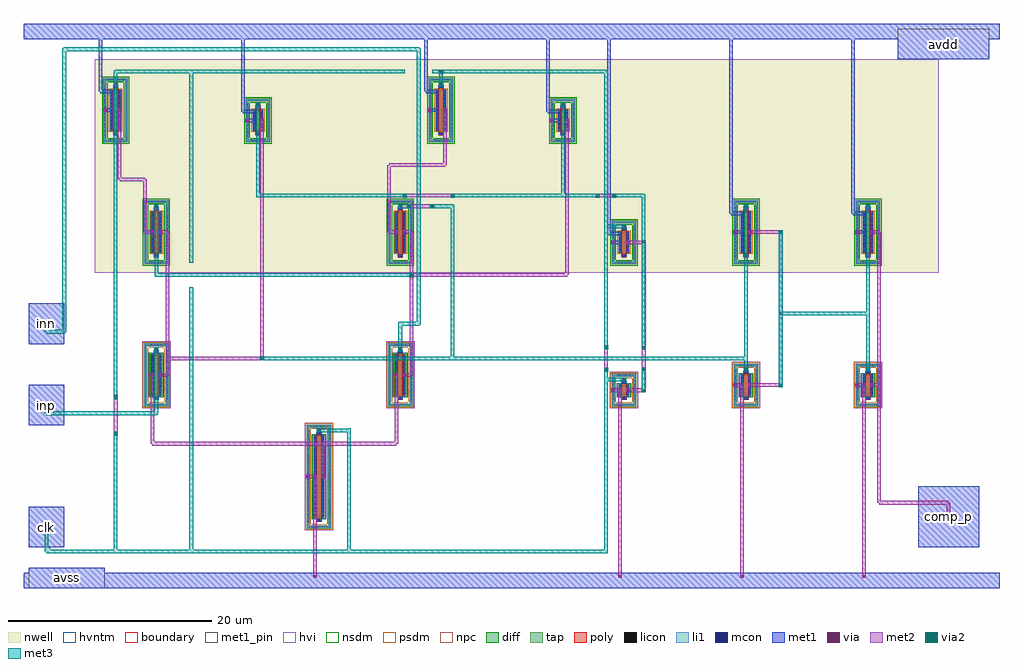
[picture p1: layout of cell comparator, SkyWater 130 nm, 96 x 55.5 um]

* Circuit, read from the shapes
.subckt comparator avdd avss clk comp_p inn inp
XM1 n1 inp n2 avss sky130_fd_pr__nfet_g5v0d10v5 w=4 l=0.5
XM2 n2 clk avss avss sky130_fd_pr__nfet_g5v0d10v5 w=8 l=0.5
XM3 n3 inn n2 avss sky130_fd_pr__nfet_g5v0d10v5 w=4 l=0.5
XM4 n4 clk avss avss sky130_fd_pr__nfet_g5v0d10v5 w=1 l=0.5
XM5 n5 n1 avss avss sky130_fd_pr__nfet_g5v0d10v5 w=2 l=0.5
XM6 comp_p n5 avss avss sky130_fd_pr__nfet_g5v0d10v5 w=2 l=0.5
XM7 n6 clk avdd avdd sky130_fd_pr__pfet_g5v0d10v5 w=4 l=0.5
XM8 n1 n3 n6 avdd sky130_fd_pr__pfet_g5v0d10v5 w=4 l=0.5
XM9 n1 n4 avdd avdd sky130_fd_pr__pfet_g5v0d10v5 w=2 l=0.5
XM10 n3 n1 n7 avdd sky130_fd_pr__pfet_g5v0d10v5 w=4 l=0.5
XM11 n7 clk avdd avdd sky130_fd_pr__pfet_g5v0d10v5 w=4 l=0.5
XM12 n3 n4 avdd avdd sky130_fd_pr__pfet_g5v0d10v5 w=2 l=0.5
XM13 n4 clk avdd avdd sky130_fd_pr__pfet_g5v0d10v5 w=2 l=0.5
XM14 n5 n1 avdd avdd sky130_fd_pr__pfet_g5v0d10v5 w=4 l=0.5
XM15 comp_p n5 avdd avdd sky130_fd_pr__pfet_g5v0d10v5 w=4 l=0.5
.ends

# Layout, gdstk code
import gdstk
lib = gdstk.Library(unit=1e-6, precision=1e-09)
def R(c, l, rs):  # rectangles x0, y0, x1, y1
    for r in rs: c.add(gdstk.rectangle(r[:2], r[2:], *l))
def A(c, l, x, y, w, h, nx, ny, dx, dy):  # array of equal rectangles
    R(c, l, [(x+i*dx, y+j*dy, x+i*dx+w, y+j*dy+h) for i in range(nx) for j in range(ny)])
nwell = (64, 20)
diff = (65, 20)
tap = (65, 44)
poly = (66, 20)
licon = (66, 44)
li1 = (67, 20)
mcon = (67, 44)
met1_pin = (68, 16)
met1 = (68, 20)
via = (68, 44)
met2 = (69, 20)
via2 = (69, 44)
met3 = (70, 20)
hvi = (75, 20)
nsdm = (93, 44)
psdm = (94, 20)
npc = (95, 20)
hvntm = (125, 20)
boundary = (235, 4)

comparator = lib.new_cell('comparator')
R(comparator, nwell, [(7,31,90,52), (11.525,31.525,14.605,38.495), (35.525,31.525,38.605,38.495), (57.525,31.525,60.605,36.495), (69.525,31.525,72.605,38.495), (81.525,31.525,84.605,38.495), (7.525,43.525,10.605,50.495), (21.525,43.525,24.605,48.495), (39.525,43.525,42.605,50.495), (51.525,43.525,54.605,48.495)])
R(comparator, diff, [(28.525,6.965,29.605,14.965), (12.525,18.965,13.605,22.965), (36.525,18.965,37.605,22.965), (58.525,18.965,59.605,19.965), (70.525,18.965,71.605,20.965), (82.525,18.965,83.605,20.965), (12.525,33.01,13.605,37.01), (36.525,33.01,37.605,37.01), (58.525,33.01,59.605,35.01), (70.525,33.01,71.605,37.01), (82.525,33.01,83.605,37.01), (8.525,45.01,9.605,49.01), (22.525,45.01,23.605,47.01), (40.525,45.01,41.605,49.01), (52.525,45.01,53.605,47.01)])
A(comparator, tap, 57.855, 17.855, 2.42, 0.29, 3, 2, 12, 14)
R(comparator, tap, [(27.855,5.855,30.275,6.145), (27.855,6.145,28.145,15.785), (29.985,6.145,30.275,15.785), (27.855,15.785,30.275,16.075), (11.855,17.855,14.275,18.145), (35.855,17.855,38.275,18.145), (11.855,18.145,12.145,23.785), (13.985,18.145,14.275,23.785), (35.855,18.145,36.145,23.785), (37.985,18.145,38.275,23.785), (57.855,18.145,58.145,20.785), (59.985,18.145,60.275,20.785), (69.855,18.145,70.145,21.785), (71.985,18.145,72.275,21.785), (81.855,18.145,82.145,21.785), (83.985,18.145,84.275,21.785), (57.855,20.785,60.275,21.075), (69.855,21.785,72.275,22.075), (81.855,21.785,84.275,22.075), (11.855,23.785,14.275,24.075), (35.855,23.785,38.275,24.075), (11.855,31.855,14.275,32.145), (35.855,31.855,38.275,32.145), (11.855,32.145,12.145,37.875), (13.985,32.145,14.275,37.875), (35.855,32.145,36.145,37.875), (37.985,32.145,38.275,37.875), (57.855,32.145,58.145,35.875), (59.985,32.145,60.275,35.875), (69.855,32.145,70.145,37.875), (71.985,32.145,72.275,37.875), (81.855,32.145,82.145,37.875), (83.985,32.145,84.275,37.875), (57.855,35.875,60.275,36.165), (11.855,37.875,14.275,38.165), (35.855,37.875,38.275,38.165), (69.855,37.875,72.275,38.165), (81.855,37.875,84.275,38.165), (7.855,43.855,10.275,44.145), (21.855,43.855,24.275,44.145), (39.855,43.855,42.275,44.145), (51.855,43.855,54.275,44.145), (7.855,44.145,8.145,49.875), (9.985,44.145,10.275,49.875), (21.855,44.145,22.145,47.875), (23.985,44.145,24.275,47.875), (39.855,44.145,40.145,49.875), (41.985,44.145,42.275,49.875), (51.855,44.145,52.145,47.875), (53.985,44.145,54.275,47.875), (21.855,47.875,24.275,48.165), (51.855,47.875,54.275,48.165), (7.855,49.875,10.275,50.165), (39.855,49.875,42.275,50.165)])
R(comparator, poly, [(28.815,6.525,29.315,15.405), (12.815,18.525,13.315,23.405), (36.815,18.525,37.315,23.405), (58.815,18.525,59.315,20.405), (70.815,18.525,71.315,21.405), (82.815,18.525,83.315,21.405), (12.815,32.525,13.315,37.495), (36.815,32.525,37.315,37.495), (58.815,32.525,59.315,35.495), (70.815,32.525,71.315,37.495), (82.815,32.525,83.315,37.495), (8.815,44.525,9.315,49.495), (22.815,44.525,23.315,47.495), (40.815,44.525,41.315,49.495), (52.815,44.525,53.315,47.495)])
A(comparator, licon, 28.47, 5.915, 0.17, 0.17, 4, 2, 0.34, 9.93)
A(comparator, licon, 27.915, 6.46, 0.17, 0.17, 1, 27, 0, 0.34)
A(comparator, licon, 30.045, 6.46, 0.17, 0.17, 1, 27, 0, 0.34)
A(comparator, licon, 28.585, 7.14, 0.17, 0.17, 1, 23, 0, 0.34)
A(comparator, licon, 29.375, 7.14, 0.17, 0.17, 1, 23, 0, 0.34)
A(comparator, licon, 12.47, 17.915, 0.17, 0.17, 4, 2, 0.34, 5.93)
A(comparator, licon, 36.47, 17.915, 0.17, 0.17, 4, 2, 0.34, 5.93)
A(comparator, licon, 58.47, 17.915, 0.17, 0.17, 4, 2, 0.34, 2.93)
A(comparator, licon, 70.47, 17.915, 0.17, 0.17, 4, 2, 0.34, 3.93)
A(comparator, licon, 82.47, 17.915, 0.17, 0.17, 4, 2, 0.34, 3.93)
A(comparator, licon, 11.915, 18.5, 0.17, 0.17, 1, 15, 0, 0.34)
A(comparator, licon, 14.045, 18.5, 0.17, 0.17, 1, 15, 0, 0.34)
A(comparator, licon, 35.915, 18.5, 0.17, 0.17, 1, 15, 0, 0.34)
A(comparator, licon, 38.045, 18.5, 0.17, 0.17, 1, 15, 0, 0.34)
A(comparator, licon, 69.915, 18.52, 0.17, 0.17, 1, 9, 0, 0.34)
A(comparator, licon, 72.045, 18.52, 0.17, 0.17, 1, 9, 0, 0.34)
A(comparator, licon, 81.915, 18.52, 0.17, 0.17, 1, 9, 0, 0.34)
A(comparator, licon, 84.045, 18.52, 0.17, 0.17, 1, 9, 0, 0.34)
A(comparator, licon, 57.915, 18.53, 0.17, 0.17, 1, 6, 0, 0.34)
A(comparator, licon, 60.045, 18.53, 0.17, 0.17, 1, 6, 0, 0.34)
A(comparator, licon, 58.98, 18.605, 0.17, 0.17, 3, 2, 12, 14)
A(comparator, licon, 70.585, 19.03, 0.17, 0.17, 1, 6, 0, 0.34)
A(comparator, licon, 71.375, 19.03, 0.17, 0.17, 1, 6, 0, 0.34)
A(comparator, licon, 82.585, 19.03, 0.17, 0.17, 1, 6, 0, 0.34)
A(comparator, licon, 83.375, 19.03, 0.17, 0.17, 1, 6, 0, 0.34)
A(comparator, licon, 58.585, 19.04, 0.17, 0.17, 1, 3, 0, 0.34)
A(comparator, licon, 59.375, 19.04, 0.17, 0.17, 1, 3, 0, 0.34)
A(comparator, licon, 12.585, 19.18, 0.17, 0.17, 1, 11, 0, 0.34)
A(comparator, licon, 13.375, 19.18, 0.17, 0.17, 1, 11, 0, 0.34)
A(comparator, licon, 36.585, 19.18, 0.17, 0.17, 1, 11, 0, 0.34)
A(comparator, licon, 37.375, 19.18, 0.17, 0.17, 1, 11, 0, 0.34)
A(comparator, licon, 12.47, 31.915, 0.17, 0.17, 4, 2, 0.34, 6.02)
A(comparator, licon, 36.47, 31.915, 0.17, 0.17, 4, 2, 0.34, 6.02)
A(comparator, licon, 58.47, 31.915, 0.17, 0.17, 4, 2, 0.34, 4.02)
A(comparator, licon, 70.47, 31.915, 0.17, 0.17, 4, 2, 0.34, 6.02)
A(comparator, licon, 82.47, 31.915, 0.17, 0.17, 4, 2, 0.34, 6.02)
A(comparator, licon, 57.915, 32.395, 0.17, 0.17, 1, 10, 0, 0.34)
A(comparator, licon, 60.045, 32.395, 0.17, 0.17, 1, 10, 0, 0.34)
A(comparator, licon, 11.915, 32.545, 0.17, 0.17, 1, 15, 0, 0.34)
A(comparator, licon, 14.045, 32.545, 0.17, 0.17, 1, 15, 0, 0.34)
A(comparator, licon, 35.915, 32.545, 0.17, 0.17, 1, 15, 0, 0.34)
A(comparator, licon, 38.045, 32.545, 0.17, 0.17, 1, 15, 0, 0.34)
A(comparator, licon, 69.915, 32.545, 0.17, 0.17, 1, 15, 0, 0.34)
A(comparator, licon, 72.045, 32.545, 0.17, 0.17, 1, 15, 0, 0.34)
A(comparator, licon, 81.915, 32.545, 0.17, 0.17, 1, 15, 0, 0.34)
A(comparator, licon, 84.045, 32.545, 0.17, 0.17, 1, 15, 0, 0.34)
A(comparator, licon, 58.585, 33.075, 0.17, 0.17, 1, 6, 0, 0.34)
A(comparator, licon, 59.375, 33.075, 0.17, 0.17, 1, 6, 0, 0.34)
A(comparator, licon, 12.585, 33.225, 0.17, 0.17, 1, 11, 0, 0.34)
A(comparator, licon, 13.375, 33.225, 0.17, 0.17, 1, 11, 0, 0.34)
A(comparator, licon, 36.585, 33.225, 0.17, 0.17, 1, 11, 0, 0.34)
A(comparator, licon, 37.375, 33.225, 0.17, 0.17, 1, 11, 0, 0.34)
A(comparator, licon, 70.585, 33.225, 0.17, 0.17, 1, 11, 0, 0.34)
A(comparator, licon, 71.375, 33.225, 0.17, 0.17, 1, 11, 0, 0.34)
A(comparator, licon, 82.585, 33.225, 0.17, 0.17, 1, 11, 0, 0.34)
A(comparator, licon, 83.375, 33.225, 0.17, 0.17, 1, 11, 0, 0.34)
A(comparator, licon, 8.47, 43.915, 0.17, 0.17, 4, 2, 0.34, 6.02)
A(comparator, licon, 22.47, 43.915, 0.17, 0.17, 4, 2, 0.34, 4.02)
A(comparator, licon, 40.47, 43.915, 0.17, 0.17, 4, 2, 0.34, 6.02)
A(comparator, licon, 52.47, 43.915, 0.17, 0.17, 4, 2, 0.34, 4.02)
A(comparator, licon, 21.915, 44.395, 0.17, 0.17, 1, 10, 0, 0.34)
A(comparator, licon, 24.045, 44.395, 0.17, 0.17, 1, 10, 0, 0.34)
A(comparator, licon, 51.915, 44.395, 0.17, 0.17, 1, 10, 0, 0.34)
A(comparator, licon, 54.045, 44.395, 0.17, 0.17, 1, 10, 0, 0.34)
A(comparator, licon, 7.915, 44.545, 0.17, 0.17, 1, 15, 0, 0.34)
A(comparator, licon, 10.045, 44.545, 0.17, 0.17, 1, 15, 0, 0.34)
A(comparator, licon, 39.915, 44.545, 0.17, 0.17, 1, 15, 0, 0.34)
A(comparator, licon, 42.045, 44.545, 0.17, 0.17, 1, 15, 0, 0.34)
A(comparator, licon, 22.585, 45.075, 0.17, 0.17, 1, 6, 0, 0.34)
A(comparator, licon, 23.375, 45.075, 0.17, 0.17, 1, 6, 0, 0.34)
A(comparator, licon, 52.585, 45.075, 0.17, 0.17, 1, 6, 0, 0.34)
A(comparator, licon, 53.375, 45.075, 0.17, 0.17, 1, 6, 0, 0.34)
A(comparator, licon, 8.585, 45.225, 0.17, 0.17, 1, 11, 0, 0.34)
A(comparator, licon, 9.375, 45.225, 0.17, 0.17, 1, 11, 0, 0.34)
A(comparator, licon, 40.585, 45.225, 0.17, 0.17, 1, 11, 0, 0.34)
A(comparator, licon, 41.375, 45.225, 0.17, 0.17, 1, 11, 0, 0.34)
R(comparator, licon, [(28.98,6.605,29.15,6.775), (28.98,15.155,29.15,15.325), (12.98,18.605,13.15,18.775), (36.98,18.605,37.15,18.775), (58.98,20.155,59.15,20.325), (70.98,21.155,71.15,21.325), (82.98,21.155,83.15,21.325), (12.98,23.155,13.15,23.325), (36.98,23.155,37.15,23.325), (12.98,32.605,13.15,32.775), (36.98,32.605,37.15,32.775), (58.98,35.245,59.15,35.415), (12.98,37.245,13.15,37.415), (36.98,37.245,37.15,37.415), (70.98,37.245,71.15,37.415), (82.98,37.245,83.15,37.415), (8.98,44.605,9.15,44.775), (22.98,44.605,23.15,44.775), (40.98,44.605,41.15,44.775), (52.98,44.605,53.15,44.775), (22.98,47.245,23.15,47.415), (52.98,47.245,53.15,47.415), (8.98,49.245,9.15,49.415), (40.98,49.245,41.15,49.415)])
A(comparator, li1, 57.915, 17.915, 2.3, 0.17, 3, 2, 12, 14)
A(comparator, li1, 58.815, 18.605, 0.5, 0.17, 3, 2, 12, 14)
R(comparator, li1, [(27.915,5.915,30.215,6.085), (27.915,6.085,28.085,15.845), (30.045,6.085,30.215,15.845), (28.815,6.605,29.315,6.775), (28.585,6.945,28.755,14.985), (29.375,6.945,29.545,14.985), (27.915,10.88,28.085,11.05), (28.815,15.155,29.315,15.325), (27.915,15.845,30.215,16.015), (11.915,17.915,14.215,18.085), (35.915,17.915,38.215,18.085), (11.915,18.085,12.085,23.845), (14.045,18.085,14.215,23.845), (35.915,18.085,36.085,23.845), (38.045,18.085,38.215,23.845), (57.915,18.085,58.085,20.845), (60.045,18.085,60.215,20.845), (69.915,18.085,70.085,21.845), (72.045,18.085,72.215,21.845), (81.915,18.085,82.085,21.845), (84.045,18.085,84.215,21.845), (12.815,18.605,13.315,18.775), (36.815,18.605,37.315,18.775), (12.585,18.945,12.755,22.985), (13.375,18.945,13.545,22.985), (36.585,18.945,36.755,22.985), (37.375,18.945,37.545,22.985), (58.585,18.945,58.755,19.985), (59.375,18.945,59.545,19.985), (70.585,18.945,70.755,20.985), (71.375,18.945,71.545,20.985), (82.585,18.945,82.755,20.985), (83.375,18.945,83.545,20.985), (57.915,19.38,58.085,19.55), (69.915,19.88,70.085,20.05), (81.915,19.88,82.085,20.05), (58.815,20.155,59.315,20.325), (57.915,20.845,60.215,21.015), (70.815,21.155,71.315,21.325), (82.815,21.155,83.315,21.325), (69.915,21.845,72.215,22.015), (81.915,21.845,84.215,22.015), (12.815,23.155,13.315,23.325), (36.815,23.155,37.315,23.325), (11.915,23.845,14.215,24.015), (35.915,23.845,38.215,24.015), (11.915,31.915,14.215,32.085), (35.915,31.915,38.215,32.085), (11.915,32.085,12.085,37.935), (14.045,32.085,14.215,37.935), (35.915,32.085,36.085,37.935), (38.045,32.085,38.215,37.935), (57.915,32.085,58.085,35.935), (60.045,32.085,60.215,35.935), (69.915,32.085,70.085,37.935), (72.045,32.085,72.215,37.935), (81.915,32.085,82.085,37.935), (84.045,32.085,84.215,37.935), (12.815,32.605,13.315,32.775), (36.815,32.605,37.315,32.775), (12.585,32.99,12.755,37.03), (13.375,32.99,13.545,37.03), (36.585,32.99,36.755,37.03), (37.375,32.99,37.545,37.03), (58.585,32.99,58.755,35.03), (59.375,32.99,59.545,35.03), (70.585,32.99,70.755,37.03), (71.375,32.99,71.545,37.03), (82.585,32.99,82.755,37.03), (83.375,32.99,83.545,37.03), (57.915,33.925,58.085,34.095), (69.915,34.925,70.085,35.095), (81.915,34.925,82.085,35.095), (58.815,35.245,59.315,35.415), (57.915,35.935,60.215,36.105), (12.815,37.245,13.315,37.415), (36.815,37.245,37.315,37.415), (70.815,37.245,71.315,37.415), (82.815,37.245,83.315,37.415), (11.915,37.935,14.215,38.105), (35.915,37.935,38.215,38.105), (69.915,37.935,72.215,38.105), (81.915,37.935,84.215,38.105), (7.915,43.915,10.215,44.085), (21.915,43.915,24.215,44.085), (39.915,43.915,42.215,44.085), (51.915,43.915,54.215,44.085), (7.915,44.085,8.085,49.935), (10.045,44.085,10.215,49.935), (21.915,44.085,22.085,47.935), (24.045,44.085,24.215,47.935), (39.915,44.085,40.085,49.935), (42.045,44.085,42.215,49.935), (51.915,44.085,52.085,47.935), (54.045,44.085,54.215,47.935), (8.815,44.605,9.315,44.775), (22.815,44.605,23.315,44.775), (40.815,44.605,41.315,44.775), (52.815,44.605,53.315,44.775), (8.585,44.99,8.755,49.03), (9.375,44.99,9.545,49.03), (22.585,44.99,22.755,47.03), (23.375,44.99,23.545,47.03), (40.585,44.99,40.755,49.03), (41.375,44.99,41.545,49.03), (52.585,44.99,52.755,47.03), (53.375,44.99,53.545,47.03), (21.915,45.925,22.085,46.095), (51.915,45.925,52.085,46.095), (7.915,46.925,8.085,47.095), (39.915,46.925,40.085,47.095), (22.815,47.245,23.315,47.415), (52.815,47.245,53.315,47.415), (21.915,47.935,24.215,48.105), (51.915,47.935,54.215,48.105), (8.815,49.245,9.315,49.415), (40.815,49.245,41.315,49.415), (7.915,49.935,10.215,50.105), (39.915,49.935,42.215,50.105)])
A(comparator, mcon, 28.585, 7.1, 0.17, 0.17, 1, 22, 0, 0.36)
A(comparator, mcon, 29.375, 7.1, 0.17, 0.17, 1, 22, 0, 0.36)
A(comparator, mcon, 58.98, 18.605, 0.17, 0.17, 3, 2, 12, 14)
A(comparator, mcon, 12.585, 19.08, 0.17, 0.17, 1, 11, 0, 0.36)
A(comparator, mcon, 13.375, 19.08, 0.17, 0.17, 1, 11, 0, 0.36)
A(comparator, mcon, 36.585, 19.08, 0.17, 0.17, 1, 11, 0, 0.36)
A(comparator, mcon, 37.375, 19.08, 0.17, 0.17, 1, 11, 0, 0.36)
A(comparator, mcon, 70.585, 19.16, 0.17, 0.17, 1, 5, 0, 0.36)
A(comparator, mcon, 71.375, 19.16, 0.17, 0.17, 1, 5, 0, 0.36)
A(comparator, mcon, 82.585, 19.16, 0.17, 0.17, 1, 5, 0, 0.36)
A(comparator, mcon, 83.375, 19.16, 0.17, 0.17, 1, 5, 0, 0.36)
A(comparator, mcon, 12.585, 33.125, 0.17, 0.17, 1, 11, 0, 0.36)
A(comparator, mcon, 13.375, 33.125, 0.17, 0.17, 1, 11, 0, 0.36)
A(comparator, mcon, 36.585, 33.125, 0.17, 0.17, 1, 11, 0, 0.36)
A(comparator, mcon, 37.375, 33.125, 0.17, 0.17, 1, 11, 0, 0.36)
A(comparator, mcon, 70.585, 33.125, 0.17, 0.17, 1, 11, 0, 0.36)
A(comparator, mcon, 71.375, 33.125, 0.17, 0.17, 1, 11, 0, 0.36)
A(comparator, mcon, 82.585, 33.125, 0.17, 0.17, 1, 11, 0, 0.36)
A(comparator, mcon, 83.375, 33.125, 0.17, 0.17, 1, 11, 0, 0.36)
A(comparator, mcon, 58.585, 33.205, 0.17, 0.17, 1, 5, 0, 0.36)
A(comparator, mcon, 59.375, 33.205, 0.17, 0.17, 1, 5, 0, 0.36)
A(comparator, mcon, 8.585, 45.125, 0.17, 0.17, 1, 11, 0, 0.36)
A(comparator, mcon, 9.375, 45.125, 0.17, 0.17, 1, 11, 0, 0.36)
A(comparator, mcon, 40.585, 45.125, 0.17, 0.17, 1, 11, 0, 0.36)
A(comparator, mcon, 41.375, 45.125, 0.17, 0.17, 1, 11, 0, 0.36)
A(comparator, mcon, 22.585, 45.205, 0.17, 0.17, 1, 5, 0, 0.36)
A(comparator, mcon, 23.375, 45.205, 0.17, 0.17, 1, 5, 0, 0.36)
A(comparator, mcon, 52.585, 45.205, 0.17, 0.17, 1, 5, 0, 0.36)
A(comparator, mcon, 53.375, 45.205, 0.17, 0.17, 1, 5, 0, 0.36)
R(comparator, mcon, [(28.98,6.605,29.15,6.775), (27.915,10.88,28.085,11.05), (27.915,10.88,28.085,11.05), (28.98,15.155,29.15,15.325), (12.98,18.605,13.15,18.775), (36.98,18.605,37.15,18.775), (58.585,19.2,58.755,19.37), (59.375,19.2,59.545,19.37), (57.915,19.38,58.085,19.55), (57.915,19.38,58.085,19.55), (58.585,19.56,58.755,19.73), (59.375,19.56,59.545,19.73), (69.915,19.88,70.085,20.05), (69.915,19.88,70.085,20.05), (81.915,19.88,82.085,20.05), (81.915,19.88,82.085,20.05), (58.98,20.155,59.15,20.325), (70.98,21.155,71.15,21.325), (82.98,21.155,83.15,21.325), (12.98,23.155,13.15,23.325), (36.98,23.155,37.15,23.325), (12.98,32.605,13.15,32.775), (36.98,32.605,37.15,32.775), (57.915,33.925,58.085,34.095), (57.915,33.925,58.085,34.095), (69.915,34.925,70.085,35.095), (69.915,34.925,70.085,35.095), (81.915,34.925,82.085,35.095), (81.915,34.925,82.085,35.095), (58.98,35.245,59.15,35.415), (12.98,37.245,13.15,37.415), (36.98,37.245,37.15,37.415), (70.98,37.245,71.15,37.415), (82.98,37.245,83.15,37.415), (8.98,44.605,9.15,44.775), (22.98,44.605,23.15,44.775), (40.98,44.605,41.15,44.775), (52.98,44.605,53.15,44.775), (21.915,45.925,22.085,46.095), (21.915,45.925,22.085,46.095), (51.915,45.925,52.085,46.095), (51.915,45.925,52.085,46.095), (7.915,46.925,8.085,47.095), (7.915,46.925,8.085,47.095), (39.915,46.925,40.085,47.095), (39.915,46.925,40.085,47.095), (22.98,47.245,23.15,47.415), (52.98,47.245,53.15,47.415), (8.98,49.245,9.15,49.415), (40.98,49.245,41.15,49.415)])
R(comparator, met1_pin, [(0.5,0,8,2), (0.5,4,4,8), (88,4,94,10), (0.5,16,4,20), (0.5,24,4,28), (86,52,95,55)])
A(comparator, met1, 58.835, 18.575, 0.46, 0.23, 3, 2, 12, 14)
R(comparator, met1, [(0,0,96,1.5), (0.5,1.5,8,2), (0.5,4,4,8), (88,4,94,10), (28.835,6.575,29.295,6.805), (28.555,6.965,28.785,14.965), (29.345,6.965,29.575,14.965), (27.82,10.785,28.18,11.145), (28.49,10.785,28.85,11.145), (29.28,10.785,29.64,11.145), (28.835,15.125,29.295,15.355), (28.925,15.245,29.205,15.335), (28.885,15.335,29.245,15.695), (0.5,16,4,20), (12.835,18.575,13.295,18.805), (36.835,18.575,37.295,18.805), (12.555,18.965,12.785,22.965), (13.345,18.965,13.575,22.965), (36.555,18.965,36.785,22.965), (37.345,18.965,37.575,22.965), (58.555,18.965,58.785,19.965), (59.345,18.965,59.575,19.965), (70.555,18.965,70.785,20.965), (71.345,18.965,71.575,20.965), (82.555,18.965,82.785,20.965), (83.345,18.965,83.575,20.965), (57.82,19.285,58.18,19.645), (58.49,19.285,58.85,19.645), (59.28,19.285,59.64,19.645), (69.82,19.785,70.18,20.145), (70.49,19.785,70.85,20.145), (71.28,19.785,71.64,20.145), (81.82,19.785,82.18,20.145), (82.49,19.785,82.85,20.145), (83.28,19.785,83.64,20.145), (58.835,20.125,59.295,20.355), (58.925,20.245,59.205,20.335), (58.885,20.335,59.245,20.695), (12.49,20.785,12.85,21.145), (13.28,20.785,13.64,21.145), (36.49,20.785,36.85,21.145), (37.28,20.785,37.64,21.145), (70.835,21.125,71.295,21.355), (82.835,21.125,83.295,21.355), (70.925,21.245,71.205,21.335), (82.925,21.245,83.205,21.335), (70.885,21.335,71.245,21.695), (82.885,21.335,83.245,21.695), (12.835,23.125,13.295,23.355), (36.835,23.125,37.295,23.355), (12.925,23.245,13.205,23.335), (36.925,23.245,37.205,23.335), (12.885,23.335,13.245,23.695), (36.885,23.335,37.245,23.695), (0.5,24,4,28), (12.835,32.575,13.295,32.805), (36.835,32.575,37.295,32.805), (12.555,33.01,12.785,37.01), (13.345,33.01,13.575,37.01), (36.555,33.01,36.785,37.01), (37.345,33.01,37.575,37.01), (58.555,33.01,58.785,35.01), (59.345,33.01,59.575,35.01), (70.555,33.01,70.785,37.01), (71.345,33.01,71.575,37.01), (82.555,33.01,82.785,37.01), (83.345,33.01,83.575,37.01), (57.82,33.83,58.18,33.835), (59.28,33.83,59.64,34.19), (57.82,33.835,58.67,34.185), (57.82,34.185,58.18,34.19), (57.57,34.685,58.67,34.86), (12.49,34.83,12.85,35.19), (13.28,34.83,13.64,35.19), (36.49,34.83,36.85,35.19), (37.28,34.83,37.64,35.19), (69.82,34.83,70.18,34.835), (71.28,34.83,71.64,35.19), (81.82,34.83,82.18,34.835), (83.28,34.83,83.64,35.19), (69.82,34.835,70.67,35.185), (81.82,34.835,82.67,35.185), (57.395,34.86,58.67,35.035), (57.395,35.035,57.745,54), (69.82,35.185,70.18,35.19), (81.82,35.185,82.18,35.19), (58.835,35.215,59.295,35.445), (58.925,35.29,59.205,35.38), (58.885,35.38,59.245,35.74), (69.57,36.685,70.67,36.86), (81.57,36.685,82.67,36.86), (69.395,36.86,70.67,37.035), (81.395,36.86,82.67,37.035), (69.395,37.035,69.745,54), (81.395,37.035,81.745,54), (12.835,37.215,13.295,37.445), (36.835,37.215,37.295,37.445), (70.835,37.215,71.295,37.445), (82.835,37.215,83.295,37.445), (12.925,37.29,13.205,37.38), (36.925,37.29,37.205,37.38), (70.925,37.29,71.205,37.38), (82.925,37.29,83.205,37.38), (12.885,37.38,13.245,37.74), (36.885,37.38,37.245,37.74), (70.885,37.38,71.245,37.74), (82.885,37.38,83.245,37.74), (8.835,44.575,9.295,44.805), (22.835,44.575,23.295,44.805), (40.835,44.575,41.295,44.805), (52.835,44.575,53.295,44.805), (8.555,45.01,8.785,49.01), (9.345,45.01,9.575,49.01), (22.555,45.01,22.785,47.01), (23.345,45.01,23.575,47.01), (40.555,45.01,40.785,49.01), (41.345,45.01,41.575,49.01), (52.555,45.01,52.785,47.01), (53.345,45.01,53.575,47.01), (21.82,45.83,22.18,45.835), (23.28,45.83,23.64,46.19), (51.82,45.83,52.18,45.835), (53.28,45.83,53.64,46.19), (21.82,45.835,22.67,46.185), (51.82,45.835,52.67,46.185), (21.82,46.185,22.18,46.19), (51.82,46.185,52.18,46.19), (21.57,46.685,22.67,46.86), (51.57,46.685,52.67,46.86), (7.82,46.83,8.18,46.835), (9.28,46.83,9.64,47.19), (39.82,46.83,40.18,46.835), (41.28,46.83,41.64,47.19), (7.82,46.835,8.67,47.185), (39.82,46.835,40.67,47.185), (21.395,46.86,22.67,47.035), (51.395,46.86,52.67,47.035), (21.395,47.035,21.745,54), (51.395,47.035,51.745,54), (7.82,47.185,8.18,47.19), (39.82,47.185,40.18,47.19), (22.835,47.215,23.295,47.445), (52.835,47.215,53.295,47.445), (22.925,47.29,23.205,47.38), (52.925,47.29,53.205,47.38), (22.885,47.38,23.245,47.74), (52.885,47.38,53.245,47.74), (7.57,48.685,8.67,48.86), (39.57,48.685,40.67,48.86), (7.395,48.86,8.67,49.035), (39.395,48.86,40.67,49.035), (7.395,49.035,7.745,54), (39.395,49.035,39.745,54), (8.835,49.215,9.295,49.445), (40.835,49.215,41.295,49.445), (8.925,49.29,9.205,49.38), (40.925,49.29,41.205,49.38), (8.885,49.38,9.245,49.74), (40.885,49.38,41.245,49.74), (86,52,95,54), (0,54,96,55.5)])
A(comparator, via, 58.595, 1.125, 0.15, 0.15, 3, 1, 12, 0)
R(comparator, via, [(28.595,1.125,28.745,1.275), (2.175,5.925,2.325,6.075), (90.925,6.925,91.075,7.075), (27.925,10.89,28.075,11.04), (28.595,10.89,28.745,11.04), (29.385,10.89,29.535,11.04), (28.99,15.44,29.14,15.59), (2.175,17.925,2.325,18.075), (57.925,19.39,58.075,19.54), (58.595,19.39,58.745,19.54), (59.385,19.39,59.535,19.54), (69.925,19.89,70.075,20.04), (70.595,19.89,70.745,20.04), (71.385,19.89,71.535,20.04), (81.925,19.89,82.075,20.04), (82.595,19.89,82.745,20.04), (83.385,19.89,83.535,20.04), (58.99,20.44,59.14,20.59), (12.595,20.89,12.745,21.04), (13.385,20.89,13.535,21.04), (36.595,20.89,36.745,21.04), (37.385,20.89,37.535,21.04), (70.99,21.44,71.14,21.59), (82.99,21.44,83.14,21.59), (12.99,23.44,13.14,23.59), (36.99,23.44,37.14,23.59), (2.175,25.925,2.325,26.075), (57.925,33.935,58.075,34.085), (59.385,33.935,59.535,34.085), (12.595,34.935,12.745,35.085), (13.385,34.935,13.535,35.085), (36.595,34.935,36.745,35.085), (37.385,34.935,37.535,35.085), (69.925,34.935,70.075,35.085), (71.385,34.935,71.535,35.085), (81.925,34.935,82.075,35.085), (83.385,34.935,83.535,35.085), (58.99,35.485,59.14,35.635), (12.99,37.485,13.14,37.635), (36.99,37.485,37.14,37.635), (70.99,37.485,71.14,37.635), (82.99,37.485,83.14,37.635), (21.925,45.935,22.075,46.085), (23.385,45.935,23.535,46.085), (51.925,45.935,52.075,46.085), (53.385,45.935,53.535,46.085), (7.925,46.935,8.075,47.085), (9.385,46.935,9.535,47.085), (39.925,46.935,40.075,47.085), (41.385,46.935,41.535,47.085), (22.99,47.485,23.14,47.635), (52.99,47.485,53.14,47.635), (8.99,49.485,9.14,49.635), (40.99,49.485,41.14,49.635)])
A(comparator, met2, 58.49, 1.02, 0.36, 0.36, 3, 1, 12, 0)
R(comparator, met2, [(28.49,1.02,28.85,1.38), (28.495,1.38,28.845,10.785), (58.495,1.38,58.845,19.285), (70.495,1.38,70.845,19.785), (82.495,1.38,82.845,19.785), (2.05,5.8,2.45,6.2), (90.82,6.82,91.18,7.18), (90.825,7.18,91.175,8.225), (84.165,8.225,91.175,8.4), (83.99,8.4,91,8.575), (83.99,8.575,84.34,19.79), (27.82,10.785,28.18,10.79), (28.49,10.785,28.85,10.79), (29.28,10.785,29.64,11.145), (27.82,10.79,28.85,11.14), (27.82,11.14,28.18,11.145), (28.49,11.14,28.85,11.145), (29.285,11.145,29.635,14.025), (12.67,14.025,36.67,14.2), (12.495,14.2,36.845,14.375), (12.495,14.375,12.845,20.785), (36.495,14.375,36.845,20.785), (8.865,15,9.265,19), (28.865,15.315,29.265,15.715), (2.05,17.8,2.45,18.2), (60.8,19.265,61.2,19.29), (57.82,19.285,58.18,19.29), (58.49,19.285,58.85,19.29), (59.28,19.285,59.64,19.29), (57.82,19.29,58.85,19.64), (59.28,19.29,61.2,19.64), (57.82,19.64,58.18,19.645), (58.49,19.64,58.85,19.645), (59.28,19.64,59.64,19.645), (60.8,19.64,61.2,33.835), (74.3,19.765,74.7,19.79), (69.82,19.785,70.18,19.79), (70.49,19.785,70.85,19.79), (71.28,19.785,71.64,19.79), (81.82,19.785,82.18,19.79), (82.49,19.785,82.85,19.79), (83.28,19.785,83.64,19.79), (69.82,19.79,70.85,20.14), (71.28,19.79,74.7,20.14), (81.82,19.79,82.85,20.14), (83.28,19.79,84.34,20.14), (69.82,20.14,70.18,20.145), (70.49,20.14,70.85,20.145), (71.28,20.14,71.64,20.145), (74.3,20.14,74.7,34.835), (81.82,20.14,82.18,20.145), (82.49,20.14,82.85,20.145), (83.28,20.14,83.64,20.145), (83.99,20.14,84.34,34.835), (58.865,20.315,59.265,20.715), (12.49,20.785,12.85,21.145), (13.28,20.785,13.64,20.79), (36.49,20.785,36.85,21.145), (37.28,20.785,37.64,20.79), (13.28,20.79,14.165,20.965), (37.28,20.79,38.165,20.965), (13.28,20.965,14.34,21.14), (37.28,20.965,38.34,21.14), (13.28,21.14,13.64,21.145), (13.99,21.14,14.34,22.425), (37.28,21.14,37.64,21.145), (37.99,21.14,38.34,30.6), (57.1,21.3,57.5,21.7), (70.865,21.315,71.265,21.715), (82.865,21.315,83.265,21.715), (57.125,21.7,57.475,23.5), (23.26,22.4,23.66,22.425), (13.99,22.425,23.66,22.775), (13.99,22.775,14.34,34.835), (23.26,22.775,23.66,22.8), (23.285,22.8,23.635,45.83), (12.865,23.315,13.265,23.715), (36.865,23.315,37.265,23.715), (57.1,23.5,57.5,23.9), (2.05,25.8,2.45,26.2), (37.965,30.6,38.365,30.625), (37.965,30.625,53.46,30.8), (37.965,30.8,53.635,30.975), (37.965,30.975,38.365,31), (53.285,30.975,53.635,45.83), (37.99,31,38.34,34.835), (57.82,33.83,58.18,34.19), (59.28,33.83,59.64,33.835), (59.28,33.835,61.2,34.185), (59.28,34.185,59.64,34.19), (60.8,34.185,61.2,34.21), (12.49,34.83,12.85,34.835), (13.28,34.83,13.64,34.835), (36.49,34.83,36.85,34.835), (37.28,34.83,37.64,34.835), (69.82,34.83,70.18,35.19), (71.28,34.83,71.64,34.835), (81.82,34.83,82.18,35.19), (83.28,34.83,83.64,34.835), (11.965,34.835,12.85,35.01), (13.28,34.835,14.34,35.01), (35.965,34.835,36.85,35.01), (37.28,34.835,38.34,35.01), (71.28,34.835,74.7,35.185), (83.28,34.835,84.34,35.01), (11.79,35.01,12.85,35.185), (13.28,35.01,14.165,35.185), (35.79,35.01,36.85,35.185), (37.28,35.01,38.165,35.185), (83.28,35.01,84.165,35.185), (11.79,35.185,12.14,40.025), (12.49,35.185,12.85,35.19), (13.28,35.185,13.64,35.19), (35.79,35.185,36.14,41.425), (36.49,35.185,36.85,35.19), (37.28,35.185,37.64,35.19), (71.28,35.185,71.64,35.19), (74.3,35.185,74.7,35.21), (83.28,35.185,83.64,35.19), (58.865,35.36,59.265,35.76), (12.865,37.36,13.265,37.76), (36.865,37.36,37.265,37.76), (37.7,37.36,38.1,37.385), (40,37.36,40.4,37.385), (70.865,37.36,71.265,37.76), (82.865,37.36,83.265,37.76), (37.7,37.385,40.4,37.735), (37.7,37.735,38.1,37.76), (40,37.735,40.4,37.76), (37.3,38.4,37.7,38.425), (42,38.4,42.4,38.425), (56.3,38.4,56.7,38.425), (57.9,38.4,58.3,38.425), (37.3,38.425,42.4,38.775), (56.3,38.425,58.3,38.775), (37.3,38.775,37.7,38.8), (42,38.775,42.4,38.8), (56.3,38.775,56.7,38.8), (57.9,38.775,58.3,38.8), (9.46,40.025,12.14,40.2), (9.285,40.2,11.965,40.375), (9.285,40.375,9.635,46.83), (35.79,41.425,41.46,41.6), (35.965,41.6,41.635,41.775), (41.285,41.775,41.635,46.83), (21.82,45.83,22.18,46.19), (23.28,45.83,23.64,46.19), (51.82,45.83,52.18,46.19), (53.28,45.83,53.64,46.19), (7.82,46.83,8.18,47.19), (9.28,46.83,9.64,47.19), (39.82,46.83,40.18,47.19), (41.28,46.83,41.64,47.19), (22.865,47.36,23.265,47.76), (52.865,47.36,53.265,47.76), (8.865,49.36,9.265,49.76), (40.865,49.36,41.265,49.76), (40.865,50.6,41.265,51)])
R(comparator, via2, [(2.15,5.9,2.35,6.1), (8.965,15.1,9.165,15.3), (28.965,15.415,29.165,15.615), (2.15,17.9,2.35,18.1), (8.965,18.7,9.165,18.9), (60.9,19.365,61.1,19.565), (74.4,19.865,74.6,20.065), (58.965,20.415,59.165,20.615), (57.2,21.4,57.4,21.6), (60.9,21.4,61.1,21.6), (70.965,21.415,71.165,21.615), (82.965,21.415,83.165,21.615), (23.36,22.5,23.56,22.7), (12.965,23.415,13.165,23.615), (36.965,23.415,37.165,23.615), (57.2,23.6,57.4,23.8), (60.9,23.6,61.1,23.8), (2.15,25.9,2.35,26.1), (74.4,26.9,74.6,27.1), (38.065,30.7,38.265,30.9), (60.9,33.91,61.1,34.11), (74.4,34.91,74.6,35.11), (58.965,35.46,59.165,35.66), (12.965,37.46,13.165,37.66), (36.965,37.46,37.165,37.66), (37.8,37.46,38,37.66), (40.1,37.46,40.3,37.66), (70.965,37.46,71.165,37.66), (82.965,37.46,83.165,37.66), (37.4,38.5,37.6,38.7), (42.1,38.5,42.3,38.7), (56.4,38.5,56.6,38.7), (58,38.5,58.2,38.7), (22.965,47.46,23.165,47.66), (52.965,47.46,53.165,47.66), (8.965,49.46,9.165,49.66), (40.965,49.46,41.165,49.66), (40.965,50.7,41.165,50.9)])
R(comparator, met3, [(2.25,3.425,57.3,3.45), (2.25,3.45,57.45,3.6), (2.075,3.6,57.475,3.775), (2.075,3.775,2.64,3.99), (8.89,3.775,9.24,15), (16.325,3.775,16.675,29.6), (31.825,3.775,32.175,15.34), (57.125,3.775,57.475,20.34), (2.075,3.99,2.425,5.8), (2.05,5.8,2.45,6.2), (8.865,15,9.265,15.4), (28.865,15.315,29.265,15.34), (28.865,15.34,32.175,15.43), (28.865,15.43,32.21,15.69), (28.865,15.69,29.265,15.715), (31.91,15.69,32.21,15.73), (2.25,17,13.065,17.05), (2.25,17.05,13.215,17.2), (2.05,17.2,13.265,17.4), (2.05,17.4,2.65,17.6), (12.865,17.4,13.265,23.715), (2.05,17.6,2.45,18.2), (8.865,18.6,9.265,19), (8.89,19,9.24,49.36), (60.8,19.265,61.2,19.665), (60.825,19.665,61.175,21.3), (74.3,19.765,74.7,26.825), (58.865,20.315,59.265,20.34), (57.125,20.34,59.265,20.69), (57.125,20.69,57.475,21.3), (58.865,20.69,59.265,20.715), (57.1,21.3,57.5,21.7), (60.8,21.3,61.2,21.7), (70.865,21.315,71.265,21.715), (82.865,21.315,83.265,21.715), (70.89,21.715,71.24,22.425), (82.89,21.715,83.24,26.825), (23.26,22.4,23.66,22.425), (23.26,22.425,71.24,22.775), (23.26,22.775,23.66,22.8), (42.025,22.775,42.375,37.385), (70.89,22.775,71.24,37.36), (36.865,23.315,37.265,25.8), (57.1,23.5,57.5,23.9), (60.8,23.5,61.2,23.9), (57.125,23.9,57.475,35.385), (60.825,23.9,61.175,33.81), (2.25,25,4,25.05), (2.25,25.05,4.15,25.2), (2.05,25.2,4.2,25.4), (2.05,25.4,2.65,25.6), (3.8,25.4,4.2,52.8), (2.05,25.6,2.45,26.2), (36.865,25.8,38.865,25.85), (36.865,25.85,39.015,26), (36.87,26,39.065,26.2), (38.665,26.2,39.065,52.8), (74.3,26.825,83.24,27.175), (74.3,27.175,74.7,35.21), (82.89,27.175,83.24,37.36), (37.965,30.6,38.365,30.625), (13.065,30.625,38.365,30.65), (12.915,30.65,38.365,30.8), (12.89,30.8,38.365,30.975), (12.89,30.975,13.24,37.36), (37.965,30.975,38.365,31), (16.325,32,16.675,50.625), (60.8,33.81,61.2,34.21), (60.825,34.21,61.175,38.425), (58.865,35.36,59.265,35.385), (57.125,35.385,59.265,35.735), (57.125,35.735,57.475,50.625), (58.865,35.735,59.265,35.76), (12.865,37.36,13.265,37.76), (36.865,37.36,37.265,37.385), (37.7,37.36,38.1,37.385), (40,37.36,40.4,37.385), (70.865,37.36,71.265,37.76), (82.865,37.36,83.265,37.76), (36.865,37.385,38.1,37.735), (40,37.385,42.375,37.56), (40,37.56,42.35,37.71), (40,37.71,42.2,37.735), (36.865,37.735,37.265,37.76), (37.7,37.735,38.1,37.76), (40,37.735,40.4,37.76), (37.3,38.4,37.7,38.425), (42,38.4,42.4,38.425), (56.3,38.4,56.7,38.425), (57.9,38.4,58.3,38.425), (23.065,38.425,37.7,38.45), (42,38.425,56.7,38.775), (57.9,38.425,61.175,38.6), (22.915,38.45,37.7,38.6), (22.89,38.6,37.7,38.775), (57.9,38.6,61.15,38.75), (57.9,38.75,61,38.775), (22.89,38.775,23.24,47.36), (37.3,38.775,37.7,38.8), (42,38.775,42.4,38.8), (52.89,38.775,53.24,47.36), (56.3,38.775,56.7,38.8), (57.9,38.775,58.3,38.8), (22.865,47.36,23.265,47.76), (52.865,47.36,53.265,47.76), (8.865,49.36,9.265,49.76), (40.865,49.36,41.265,49.76), (8.89,49.76,9.24,50.625), (40.89,49.76,41.24,50.6), (40.865,50.6,41.265,50.625), (8.89,50.625,37.5,50.8), (40.2,50.625,57.475,50.8), (8.915,50.8,37.5,50.95), (40.2,50.8,57.45,50.95), (9.065,50.95,37.5,50.975), (40.2,50.95,57.3,50.975), (40.865,50.975,41.265,51), (3.8,52.8,39.065,53), (3.85,53,39.015,53.15), (4,53.15,38.865,53.2)])
R(comparator, hvi, [(27.67,5.67,30.46,16.26), (11.67,17.67,14.46,24.26), (35.67,17.67,38.46,24.26), (57.67,17.67,60.46,21.26), (69.67,17.67,72.46,22.26), (81.67,17.67,84.46,22.26), (7,31,90,31.525), (7,31.525,11.525,38.495), (11.525,31.525,14.605,38.495), (14.605,31.525,35.525,38.495), (35.525,31.525,38.605,38.495), (38.605,31.525,57.525,36.495), (57.525,31.525,60.605,36.495), (60.605,31.525,69.525,36.495), (69.525,31.525,72.605,38.495), (72.605,31.525,81.525,38.495), (81.525,31.525,84.605,38.495), (84.605,31.525,90,38.495), (38.605,36.495,69.525,38.495), (7,38.495,90,43.525), (7,43.525,7.525,50.495), (7.525,43.525,10.605,50.495), (10.605,43.525,21.525,48.495), (21.525,43.525,24.605,48.495), (24.605,43.525,39.525,48.495), (39.525,43.525,42.605,50.495), (42.605,43.525,51.525,48.495), (51.525,43.525,54.605,48.495), (54.605,43.525,90,48.495), (10.605,48.495,39.525,50.495), (42.605,48.495,90,50.495), (7,50.495,90,52)])
A(comparator, nsdm, 57.73, 31.73, 2.67, 0.54, 3, 1, 12, 0)
R(comparator, nsdm, [(28.4,6.84,29.73,15.09), (12.4,18.84,13.73,23.09), (36.4,18.84,37.73,23.09), (58.4,18.84,59.73,20.09), (70.4,18.84,71.73,21.09), (82.4,18.84,83.73,21.09), (11.73,31.73,14.4,32.27), (35.73,31.73,38.4,32.27), (11.73,32.27,12.27,37.75), (13.86,32.27,14.4,37.75), (35.73,32.27,36.27,37.75), (37.86,32.27,38.4,37.75), (57.73,32.27,58.27,35.75), (59.86,32.27,60.4,35.75), (69.73,32.27,70.27,37.75), (71.86,32.27,72.4,37.75), (81.73,32.27,82.27,37.75), (83.86,32.27,84.4,37.75), (57.73,35.75,60.4,36.29), (11.73,37.75,14.4,38.29), (35.73,37.75,38.4,38.29), (69.73,37.75,72.4,38.29), (81.73,37.75,84.4,38.29), (7.73,43.73,10.4,44.27), (21.73,43.73,24.4,44.27), (39.73,43.73,42.4,44.27), (51.73,43.73,54.4,44.27), (7.73,44.27,8.27,49.75), (9.86,44.27,10.4,49.75), (21.73,44.27,22.27,47.75), (23.86,44.27,24.4,47.75), (39.73,44.27,40.27,49.75), (41.86,44.27,42.4,49.75), (51.73,44.27,52.27,47.75), (53.86,44.27,54.4,47.75), (21.73,47.75,24.4,48.29), (51.73,47.75,54.4,48.29), (7.73,49.75,10.4,50.29), (39.73,49.75,42.4,50.29)])
A(comparator, psdm, 57.73, 17.73, 2.67, 0.54, 3, 1, 12, 0)
R(comparator, psdm, [(27.73,5.73,30.4,6.27), (27.73,6.27,28.27,15.66), (29.86,6.27,30.4,15.66), (27.73,15.66,30.4,16.2), (11.73,17.73,14.4,18.27), (35.73,17.73,38.4,18.27), (11.73,18.27,12.27,23.66), (13.86,18.27,14.4,23.66), (35.73,18.27,36.27,23.66), (37.86,18.27,38.4,23.66), (57.73,18.27,58.27,20.66), (59.86,18.27,60.4,20.66), (69.73,18.27,70.27,21.66), (71.86,18.27,72.4,21.66), (81.73,18.27,82.27,21.66), (83.86,18.27,84.4,21.66), (57.73,20.66,60.4,21.2), (69.73,21.66,72.4,22.2), (81.73,21.66,84.4,22.2), (11.73,23.66,14.4,24.2), (35.73,23.66,38.4,24.2), (12.4,32.885,13.73,37.135), (36.4,32.885,37.73,37.135), (58.4,32.885,59.73,35.135), (70.4,32.885,71.73,37.135), (82.4,32.885,83.73,37.135), (8.4,44.885,9.73,49.135), (22.4,44.885,23.73,47.135), (40.4,44.885,41.73,49.135), (52.4,44.885,53.73,47.135)])
A(comparator, npc, 58.88, 18.505, 0.37, 0.37, 3, 2, 12, 14)
R(comparator, npc, [(28.88,6.505,29.25,6.875), (28.88,15.055,29.25,15.425), (12.88,18.505,13.25,18.875), (36.88,18.505,37.25,18.875), (58.88,20.055,59.25,20.425), (70.88,21.055,71.25,21.425), (82.88,21.055,83.25,21.425), (12.88,23.055,13.25,23.425), (36.88,23.055,37.25,23.425), (12.88,32.505,13.25,32.875), (36.88,32.505,37.25,32.875), (58.88,35.145,59.25,35.515), (12.88,37.145,13.25,37.515), (36.88,37.145,37.25,37.515), (70.88,37.145,71.25,37.515), (82.88,37.145,83.25,37.515), (8.88,44.505,9.25,44.875), (22.88,44.505,23.25,44.875), (40.88,44.505,41.25,44.875), (52.88,44.505,53.25,44.875), (22.88,47.145,23.25,47.515), (52.88,47.145,53.25,47.515), (8.88,49.145,9.25,49.515), (40.88,49.145,41.25,49.515)])
R(comparator, hvntm, [(28.34,6.78,29.79,15.15), (12.34,18.78,13.79,23.15), (36.34,18.78,37.79,23.15), (58.34,18.78,59.79,20.15), (70.34,18.78,71.79,21.15), (82.34,18.78,83.79,21.15)])
R(comparator, boundary, [(28,6,30.13,15.93), (12,18,14.13,23.93), (36,18,38.13,23.93), (58,18,60.13,20.93), (70,18,72.13,21.93), (82,18,84.13,21.93), (12,32,14.13,38.02), (36,32,38.13,38.02), (58,32,60.13,36.02), (70,32,72.13,38.02), (82,32,84.13,38.02), (8,44,10.13,50.02), (22,44,24.13,48.02), (40,44,42.13,50.02), (52,44,54.13,48.02)])
comparator.add(gdstk.Label('inp', (2.25,18), layer=68, texttype=5))
comparator.add(gdstk.Label('inn', (2.25,26), layer=68, texttype=5))
comparator.add(gdstk.Label('clk', (2.25,6), layer=68, texttype=5))
comparator.add(gdstk.Label('comp_p', (91,7), layer=68, texttype=5))
comparator.add(gdstk.Label('avdd', (90.5,53.5), layer=68, texttype=5))
comparator.add(gdstk.Label('avss', (4.25,1), layer=68, texttype=5))

lib.write_gds('comparator.gds')
